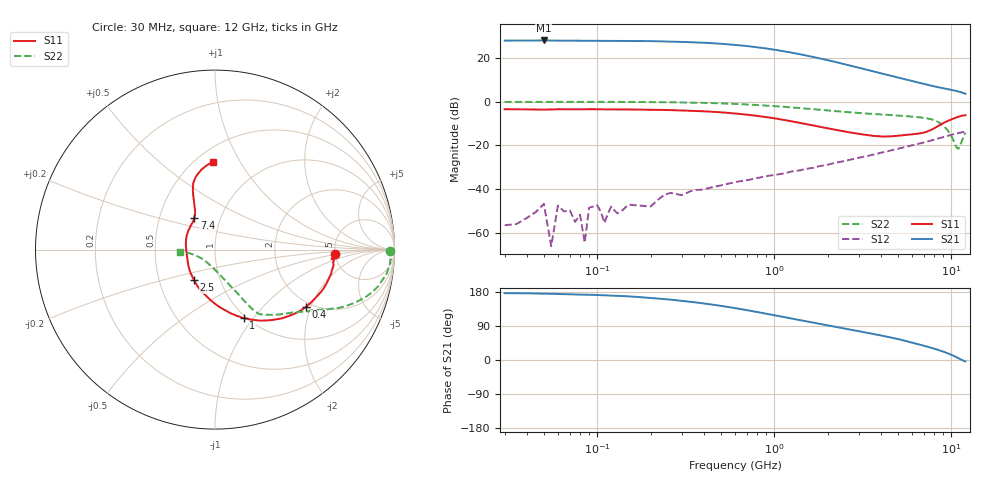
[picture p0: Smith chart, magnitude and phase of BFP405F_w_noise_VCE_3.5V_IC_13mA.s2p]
! Infineon Technologies  Discrete & RF Semiconductors
! BFP405F
! VCE =  3.5 V,  IC =  13 mA
! Common Emitter S-Parameters:  Nov 2015
# GHz  S  MA  R  50
!  f  S11  S21  S12  S22
! GHz  MAG  ANG  MAG  ANG  MAG  ANG  MAG  ANG
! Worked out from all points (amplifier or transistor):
!   239 points, 30 MHz to 12 GHz, reference 50 ohm
!   highest |S21| = 27.9 dB at 50 MHz (marker M1)
!   |S21| within 3 dB of that: start of sweep to 779.2 MHz
!   unconditionally stable (mu >= 1): 54.41 MHz to 55.35 MHz; 2.118 GHz to end of sweep
!   at 300 MHz: K = 0.30, MSG = 35.0 dB, |S12| = -42.7 dB
!   at 1.88 GHz: K = 0.95, MSG = 24.3 dB, |S12| = -29.3 dB
!   at 12 GHz: K = 1.38, MAG = 5.0 dB, |S12| = -13.8 dB
!   lowest NFmin = 1.86 dB at 450 MHz
!   S11 on the Smith chart (normalised r, x): 30 MHz: 4.96, -0.41; 400 MHz: 1.85, -1.84; 1 GHz: 0.97, -0.90; 2.5 GHz: 0.75, -0.27; 7.4 GHz: 0.75, +0.28; 12 GHz: 0.61, +0.77
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0.03  0.6664 -2.0  24.58 176.4  0.0015 67.5  0.9775 -0.3
0.05  0.6512 -4.6  24.73 174.9  0.0046 -59.5  0.9751 -1.5
0.055  0.6584 -4.5  24.6 174.6  0.0005 0.7  0.9793 -1.5
0.06  0.6657 -4.5  24.48 174.3  0.0042 108.8  0.9836 -1.5
0.08  0.6619 -6.0  24.3 172.5  0.0026 -75.4  0.9795 -2.0
0.085  0.6643 -6.8  24.34 172.3  0.0006 104.3  0.981 -2.5
0.09  0.6669 -7.6  24.38 172.2  0.0038 104.5  0.9826 -3.0
0.11  0.6638 -9.3  24.21 170.7  0.0017 83.1  0.9808 -3.4
0.145  0.6592 -12.3  24.14 168.4  0.0039 74.3  0.978 -4.6
0.24  0.6416 -20.1  23.47 160.7  0.0075 79.6  0.9653 -8.0
0.3  0.6249 -24.7  22.99 156.2  0.0073 74.7  0.9523 -9.8
0.4  0.5977 -32.4  21.95 149.2  0.0099 75.8  0.9326 -12.6
0.6  0.534 -45.9  19.59 136.8  0.0145 75.4  0.8821 -17.3
0.78  0.4761 -56.2  17.5 127.6  0.0175 72.9  0.8351 -20.6
1  0.4142 -67.2  15.22 118.1  0.0211 70.6  0.7852 -23.8
1.3  0.3426 -80.4  12.68 107.8  0.0261 69.2  0.7259 -27.0
1.64  0.2867 -93.8  10.5 99.1  0.0305 68.8  0.6726 -29.9
2.5  0.2059 -124.7  7.099 83.0  0.0442 67.2  0.5788 -36.9
4.5  0.1612 -179.8  3.909 60.0  0.0756 61.8  0.4921 -47.5
7.4  0.2116 123.2  2.381 34.4  0.1232 50.3  0.4082 -57.1
10.8  0.4392 101.6  1.721 6.3  0.1892 31.6  0.0851 -119.6
12  0.4869 91.2  1.503 -3.8  0.2041 24.7  0.1959 -176.1
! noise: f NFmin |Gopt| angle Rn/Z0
0.45  1.86  0.14  4  0.33
0.9  1.88  0.13  7  0.32
1.5  1.93  0.11  11  0.22
1.9  1.96  0.1  17  0.27
2.4  2.11  0.08  24  0.33
3  2.19  0.07  32  0.36
3.5  2.24  0.04  37  0.47
4.5  2.43  0.04  -69  0.18
5.5  2.69  0.13  -87  0.06
